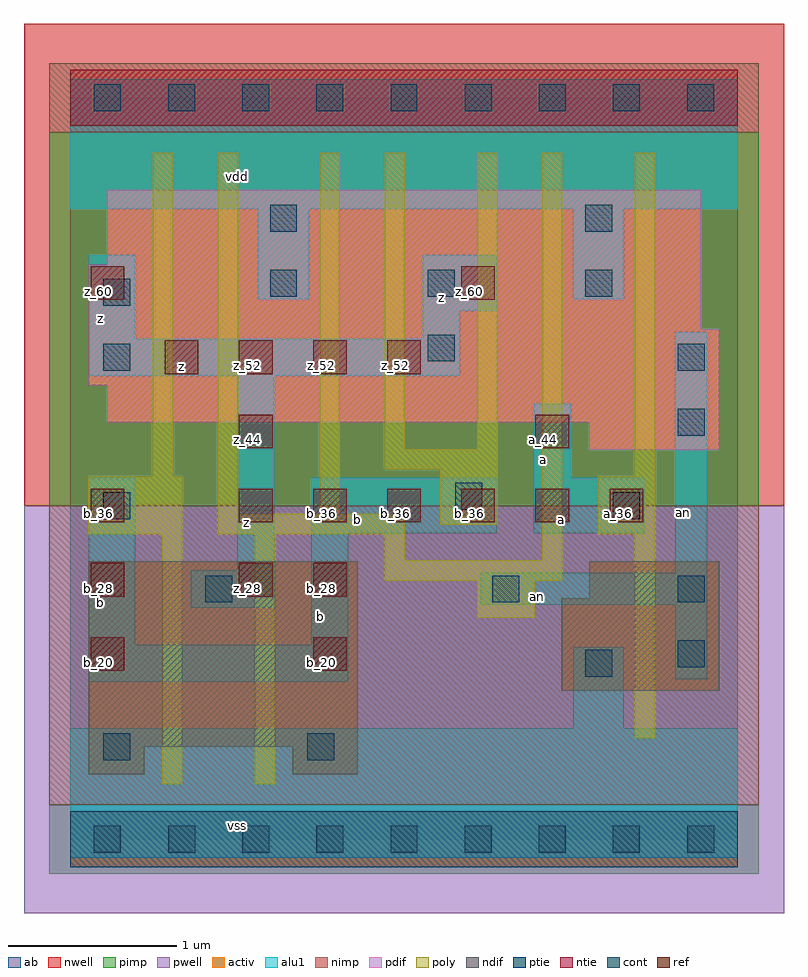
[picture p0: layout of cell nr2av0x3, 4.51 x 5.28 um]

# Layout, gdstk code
import gdstk
lib = gdstk.Library(unit=1e-6, precision=2.5e-09)
def R(c, l, rs):  # rectangles x0, y0, x1, y1
    for r in rs: c.add(gdstk.rectangle(r[:2], r[2:], *l))
def A(c, l, x, y, w, h, nx, ny, dx, dy):  # array of equal rectangles
    R(c, l, [(x+i*dx, y+j*dy, x+i*dx+w, y+j*dy+h) for i in range(nx) for j in range(ny)])
ndif = (3, 0)
pdif = (4, 0)
ntie = (5, 0)
ptie = (6, 0)
ref = (24, 0)
cont = (25, 0)
pwell = (41, 0)
nwell = (42, 0)
activ = (43, 0)
pimp = (44, 0)
nimp = (45, 0)
poly = (46, 0)
alu1 = (49, 0)
ab = (63, 0)

nr2av0x3 = lib.new_cell('nr2av0x3')
R(nr2av0x3, ndif, [(0.11,0.385,0.44,0.55), (1.32,0.385,1.705,0.55), (0.11,0.55,1.705,1.65), (2.915,0.88,3.85,1.43), (3.08,1.43,3.85,1.65)])
R(nr2av0x3, pdif, [(3.08,2.31,3.85,2.475), (0.22,2.475,3.85,2.695), (0.11,2.695,3.85,3.025), (0.11,3.025,3.74,3.41), (0.22,3.41,3.74,3.85)])
R(nr2av0x3, ntie, [(0,4.235,3.96,4.565)])
R(nr2av0x3, ptie, [(0,-0.165,3.96,0.165)])
A(nr2av0x3, ref, 0.12, 1, 0.2, 0.2, 1, 3, 0, 0.44)
A(nr2av0x3, ref, 1, 1.88, 0.2, 0.2, 6, 1, 0.44, 0)
A(nr2av0x3, ref, 0.56, 2.76, 0.2, 0.2, 4, 1, 0.44, 0)
R(nr2av0x3, ref, [(1.44,1,1.64,1.2), (1,1.44,1.2,1.64), (1.44,1.44,1.64,1.64), (1,2.32,1.2,2.52), (2.76,2.32,2.96,2.52), (0.12,3.2,0.32,3.4), (2.32,3.2,2.52,3.4)])
A(nr2av0x3, cont, 0.14, -0.08, 0.16, 0.16, 9, 2, 0.44, 4.4)
A(nr2av0x3, cont, 1.185, 3.22, 0.16, 0.16, 3, 1, 0.935, 0)
R(nr2av0x3, cont, [(0.195,0.47,0.355,0.63), (1.405,0.47,1.565,0.63), (3.055,0.965,3.215,1.125), (3.605,1.02,3.765,1.18), (0.8,1.405,0.96,1.565), (2.505,1.405,2.665,1.565), (3.605,1.405,3.765,1.565), (0.195,1.9,0.355,2.06), (3.22,1.9,3.38,2.06), (2.285,1.955,2.445,2.115), (3.605,2.395,3.765,2.555), (0.195,2.78,0.355,2.94), (3.605,2.78,3.765,2.94), (2.12,2.835,2.28,2.995), (0.195,3.165,0.355,3.325), (1.185,3.605,1.345,3.765), (3.055,3.605,3.215,3.765)])
R(nr2av0x3, pwell, [(-0.275,-0.44,4.235,1.98)])
R(nr2av0x3, nwell, [(-0.275,1.98,4.235,4.84)])
R(nr2av0x3, activ, [(0,-0.165,3.96,0.165), (0.11,0.385,0.44,0.55), (1.32,0.385,1.705,0.55), (0.11,0.55,1.705,1.65), (2.915,0.88,3.85,1.43), (3.08,1.43,3.85,1.65), (3.08,2.31,3.85,2.475), (0.22,2.475,3.85,2.695), (0.11,2.695,3.85,3.025), (0.11,3.025,3.74,3.41), (0.22,3.41,3.74,3.85), (0,4.235,3.96,4.565)])
R(nr2av0x3, pimp, [(-0.125,-0.205,4.085,0.205), (-0.125,1.98,4.085,4.195)])
R(nr2av0x3, nimp, [(-0.125,0.205,4.085,1.98), (-0.125,4.195,4.085,4.605)])
R(nr2av0x3, poly, [(0.545,0.325,0.665,1.81), (1.095,0.325,1.215,1.81), (3.35,0.6,3.47,1.81), (2.415,1.315,2.755,1.535), (1.865,1.535,2.92,1.655), (1.865,1.655,1.985,1.81), (2.8,1.655,2.92,4.075), (0.105,1.81,0.665,2.15), (0.875,1.81,1.985,1.93), (3.13,1.81,3.47,2.15), (2.195,1.865,2.535,2.195), (0.875,1.93,0.995,4.075), (1.48,1.93,1.6,4.075), (0.49,2.15,0.61,4.075), (3.35,2.15,3.47,4.075), (1.865,2.195,2.535,2.315), (1.865,2.315,1.985,4.075), (2.415,2.315,2.535,4.075)])
R(nr2av0x3, alu1, [(0,-0.11,3.96,0.66), (2.985,0.66,3.285,1.14), (0.11,0.935,1.65,1.155), (3.59,0.95,3.78,1.39), (0.11,1.155,0.385,2.145), (1.43,1.155,1.65,1.815), (0.715,1.375,1.21,1.595), (2.435,1.39,3.78,1.58), (3.59,1.58,3.78,3.01), (0.99,1.595,1.21,2.75), (1.43,1.815,2.53,2.145), (2.75,1.815,3.41,2.145), (2.75,2.145,2.97,2.585), (0.11,2.75,2.31,2.97), (0.11,2.97,0.385,3.465), (2.09,2.97,2.31,3.135), (2.09,3.135,2.53,3.465), (1.115,3.205,1.415,3.74), (2.985,3.205,3.285,3.74), (0,3.74,3.96,4.51)])
R(nr2av0x3, ab, [(0,0,3.96,4.4)])
nr2av0x3.add(gdstk.Label('vss', (0.99,0.0825), layer=49, texttype=0))
nr2av0x3.add(gdstk.Label('an', (2.77,1.4375), layer=49, texttype=0))
nr2av0x3.add(gdstk.Label('an', (3.6375,1.9375), layer=49, texttype=0))
nr2av0x3.add(gdstk.Label('b', (1.485,1.32), layer=49, texttype=0))
nr2av0x3.add(gdstk.Label('a', (2.915,1.8975), layer=49, texttype=0))
nr2av0x3.add(gdstk.Label('b', (1.705,1.8975), layer=49, texttype=0))
nr2av0x3.add(gdstk.Label('a', (2.805,2.255), layer=49, texttype=0))
nr2av0x3.add(gdstk.Label('z', (1.045,1.8825), layer=49, texttype=0))
nr2av0x3.add(gdstk.Label('b', (0.1775,1.4025), layer=49, texttype=0))
nr2av0x3.add(gdstk.Label('z', (0.66,2.805), layer=49, texttype=0))
nr2av0x3.add(gdstk.Label('z', (2.2,3.2175), layer=49, texttype=0))
nr2av0x3.add(gdstk.Label('z', (0.1775,3.0925), layer=49, texttype=0))
nr2av0x3.add(gdstk.Label('vdd', (0.99,3.9325), layer=49, texttype=0))
nr2av0x3.add(gdstk.Label('a_36', (3.25,1.93), layer=24, texttype=0))
nr2av0x3.add(gdstk.Label('a_44', (2.81,2.37), layer=24, texttype=0))
nr2av0x3.add(gdstk.Label('a_36', (2.81,1.93), layer=24, texttype=0))
nr2av0x3.add(gdstk.Label('z_60', (2.37,3.25), layer=24, texttype=0))
nr2av0x3.add(gdstk.Label('b_36', (2.37,1.93), layer=24, texttype=0))
nr2av0x3.add(gdstk.Label('z_60', (0.17,3.25), layer=24, texttype=0))
nr2av0x3.add(gdstk.Label('b_36', (0.17,1.93), layer=24, texttype=0))
nr2av0x3.add(gdstk.Label('b_28', (0.17,1.49), layer=24, texttype=0))
nr2av0x3.add(gdstk.Label('b_20', (0.17,1.05), layer=24, texttype=0))
nr2av0x3.add(gdstk.Label('z_52', (1.93,2.81), layer=24, texttype=0))
nr2av0x3.add(gdstk.Label('b_36', (1.93,1.93), layer=24, texttype=0))
nr2av0x3.add(gdstk.Label('z_52', (1.49,2.81), layer=24, texttype=0))
nr2av0x3.add(gdstk.Label('b_36', (1.49,1.93), layer=24, texttype=0))
nr2av0x3.add(gdstk.Label('b_28', (1.49,1.49), layer=24, texttype=0))
nr2av0x3.add(gdstk.Label('b_20', (1.49,1.05), layer=24, texttype=0))
nr2av0x3.add(gdstk.Label('z_52', (1.05,2.81), layer=24, texttype=0))
nr2av0x3.add(gdstk.Label('z_44', (1.05,2.37), layer=24, texttype=0))
nr2av0x3.add(gdstk.Label('z_36', (1.05,1.93), layer=24, texttype=0))
nr2av0x3.add(gdstk.Label('z_28', (1.05,1.49), layer=24, texttype=0))
nr2av0x3.add(gdstk.Label('z_52', (0.61,2.81), layer=24, texttype=0))

lib.write_gds('nr2av0x3.gds')
